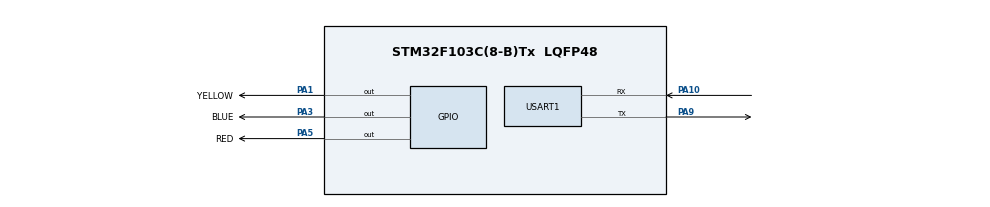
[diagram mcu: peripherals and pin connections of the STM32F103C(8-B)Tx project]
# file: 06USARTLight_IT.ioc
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Mcu.Family=STM32F1
Mcu.Name=STM32F103C(8-B)Tx
Mcu.Package=LQFP48
NVIC.PriorityGroup=NVIC_PRIORITYGROUP_4
NVIC.USART1_IRQn=true\:0\:0\:false\:false\:true\:true\:true\:true
PA1.GPIO_Label=YELLOW
PA1.Signal=GPIO_Output
PA10.Mode=Asynchronous
PA10.Signal=USART1_RX
PA13.Mode=Serial_Wire
PA13.Signal=SYS_JTMS-SWDIO
PA14.Mode=Serial_Wire
PA14.Signal=SYS_JTCK-SWCLK
PA3.GPIO_Label=BLUE
PA3.Signal=GPIO_Output
PA5.GPIO_Label=RED
PA5.Signal=GPIO_Output
PA9.Mode=Asynchronous
PA9.Signal=USART1_TX
ProjectManager.HeapSize=0x200
ProjectManager.StackSize=0x400
ProjectManager.TargetToolchain=CMake
RCC.APB1Freq_Value=8000000
RCC.APB2Freq_Value=8000000
USART1.VirtualMode=VM_ASYNC
board=custom

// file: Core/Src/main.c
/* USER CODE BEGIN Header */
/**
  ******************************************************************************
  * @file           : main.c
  * @brief          : Main program body
  ******************************************************************************
  * @attention
  *
  * Copyright (c) 2026 STMicroelectronics.
  * All rights reserved.
  *
  * This software is licensed under terms that can be found in the LICENSE file
  * in the root directory of this software component.
  * If no LICENSE file comes with this software, it is provided AS-IS.
  *
  ******************************************************************************
  */
/* USER CODE END Header */
#include "main.h"
#include "stm32f1xx_hal_uart.h"
#include "usart.h"
#include "gpio.h"

/* USER CODE BEGIN PV */
uint8_t r_data[2];//用于接收数据的存放
GPIO_PinState S;//定义引脚状态，便于后续直接更改
/* USER CODE END PV */

void SystemClock_Config(void);

/* USER CODE BEGIN 0 */
 void HAL_UART_RxCpltCallback(UART_HandleTypeDef *huart)
  {
    //接收后发回电脑
    HAL_UART_Transmit_IT(&huart1, r_data, 2);

    //判断实现控制小灯
    if(r_data[1] == '1')
    {
      S = GPIO_PIN_SET;
    }
    else
    {
      S = GPIO_PIN_RESET;
    }

    if(r_data[0] == 'Y')
    {
      HAL_GPIO_WritePin(YELLOW_GPIO_Port, YELLOW_Pin, S);
    }
    else if(r_data[0] == 'R')
    {
      HAL_GPIO_WritePin(RED_GPIO_Port , RED_Pin, S);
    }
    else if(r_data[0] == 'B')
    {
      HAL_GPIO_WritePin(BLUE_GPIO_Port, BLUE_Pin, S);
    }
    //为下一次接收数据开启
    HAL_UART_Receive_IT(&huart1,r_data,2);
  }
/* USER CODE END 0 */

int main(void)
{

  /* MCU Configuration--------------------------------------------------------*/

  /* Reset of all peripherals, Initializes the Flash interface and the Systick. */
  HAL_Init();

  /* Configure the system clock */
  SystemClock_Config();

  /* Initialize all configured peripherals */
  MX_GPIO_Init();
  MX_USART1_UART_Init();
  /* USER CODE BEGIN 2 */
  //此函数不可以放在主循环里面，否则会因为数据未接受完就开启下一次循环导致数丢失
  HAL_UART_Receive_IT(&huart1,r_data,2);
  /* USER CODE END 2 */

  /* Infinite loop */
  /* USER CODE BEGIN WHILE */
  while (1)
  {
    //这里可以实现很多复杂的代码

    /* USER CODE END WHILE */

  }
}

void SystemClock_Config(void)
{
  RCC_OscInitTypeDef RCC_OscInitStruct = {0};
  RCC_ClkInitTypeDef RCC_ClkInitStruct = {0};

  /** Initializes the RCC Oscillators according to the specified parameters
  * in the RCC_OscInitTypeDef structure.
  */
  RCC_OscInitStruct.OscillatorType = RCC_OSCILLATORTYPE_HSI;
  RCC_OscInitStruct.HSIState = RCC_HSI_ON;
  RCC_OscInitStruct.HSICalibrationValue = RCC_HSICALIBRATION_DEFAULT;
  RCC_OscInitStruct.PLL.PLLState = RCC_PLL_NONE;
  if (HAL_RCC_OscConfig(&RCC_OscInitStruct) != HAL_OK)
  {
    Error_Handler();
  }

  /** Initializes the CPU, AHB and APB buses clocks
  */
  RCC_ClkInitStruct.ClockType = RCC_CLOCKTYPE_HCLK|RCC_CLOCKTYPE_SYSCLK
                              |RCC_CLOCKTYPE_PCLK1|RCC_CLOCKTYPE_PCLK2;
  RCC_ClkInitStruct.SYSCLKSource = RCC_SYSCLKSOURCE_HSI;
  RCC_ClkInitStruct.AHBCLKDivider = RCC_SYSCLK_DIV1;
  RCC_ClkInitStruct.APB1CLKDivider = RCC_HCLK_DIV1;
  RCC_ClkInitStruct.APB2CLKDivider = RCC_HCLK_DIV1;

  if (HAL_RCC_ClockConfig(&RCC_ClkInitStruct, FLASH_LATENCY_0) != HAL_OK)
  {
    Error_Handler();
  }
}

void Error_Handler(void)
{
  __disable_irq();
  while (1)
  {
  }
}
